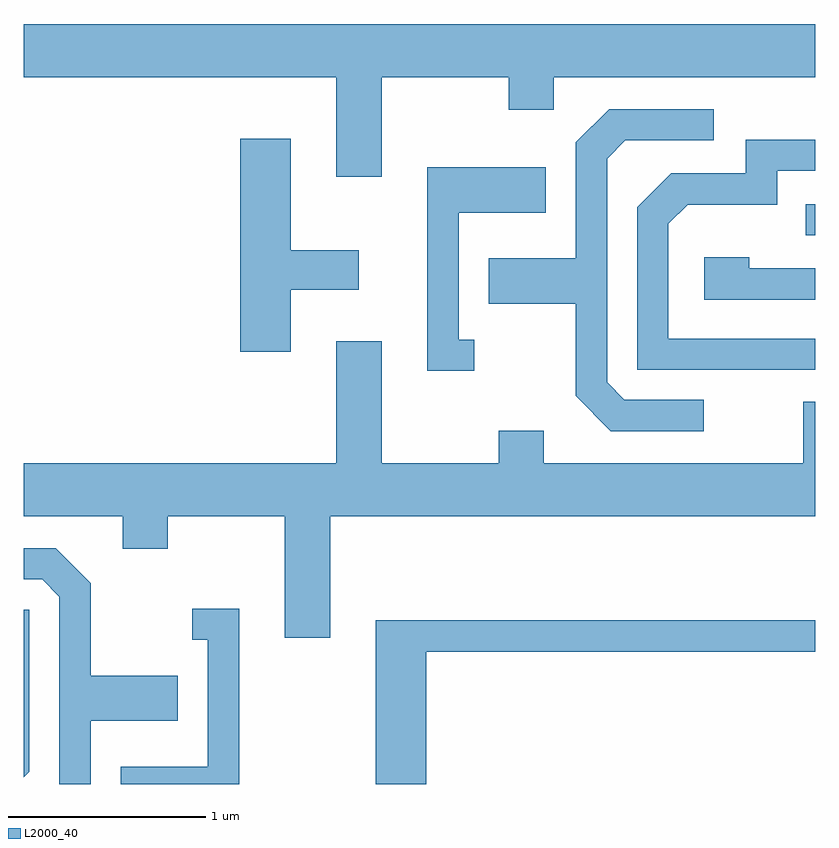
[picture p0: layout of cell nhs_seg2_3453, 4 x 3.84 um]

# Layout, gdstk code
import gdstk
lib = gdstk.Library(unit=1e-6, precision=1e-09)
def R(c, l, rs):  # rectangles x0, y0, x1, y1
    for r in rs: c.add(gdstk.rectangle(r[:2], r[2:], *l))
def P(c, l, *ps):  # polygons
    for p in ps: c.add(gdstk.Polygon(p, *l))
L2000_40 = (2000, 40)

nhs_seg2_3453 = lib.new_cell('nhs_seg2_3453')
R(nhs_seg2_3453, L2000_40, [(289.563,1098.576,289.611,1098.734)])
P(nhs_seg2_3453, L2000_40, [(287.419,1099.376),(288.061,1099.376),(288.061,1099.211),(288.289,1099.211),(288.289,1099.376),(289.611,1099.376),(289.611,1099.644),(285.611,1099.644),(285.611,1099.376),(287.191,1099.376),(287.191,1098.871),(287.419,1098.871)],
  [(289.048,1097.744),(288.647,1097.744),(288.559,1097.832),(288.559,1098.964),(288.652,1099.056),(289.098,1099.056),(289.098,1099.214),(288.569,1099.214),(288.401,1099.047),(288.401,1098.459),(287.961,1098.459),(287.961,1098.231),(288.401,1098.231),(288.401,1097.764),(288.579,1097.586),(289.048,1097.586)],
  [(286.959,1098.301),(287.304,1098.301),(287.304,1098.499),(286.959,1098.499),(286.959,1099.064),(286.706,1099.064),(286.706,1097.986),(286.959,1097.986)],
  [(289.611,1098.054),(288.869,1098.054),(288.869,1098.634),(288.967,1098.731),(289.419,1098.731),(289.419,1098.901),(289.611,1098.901),(289.611,1099.059),(289.261,1099.059),(289.261,1098.889),(288.884,1098.889),(288.711,1098.717),(288.711,1097.896),(289.611,1097.896)],
  [(287.888,1098.049),(287.809,1098.049),(287.809,1098.691),(288.249,1098.691),(288.249,1098.919),(287.651,1098.919),(287.651,1097.891),(287.888,1097.891)],
  [(289.611,1098.409),(289.279,1098.409),(289.279,1098.464),(289.051,1098.464),(289.051,1098.251),(289.611,1098.251)],
  [(287.159,1097.156),(289.611,1097.156),(289.611,1097.734),(289.551,1097.734),(289.551,1097.424),(288.239,1097.424),(288.239,1097.589),(288.011,1097.589),(288.011,1097.424),(287.419,1097.424),(287.419,1098.039),(287.191,1098.039),(287.191,1097.424),(285.611,1097.424),(285.611,1097.156),(286.111,1097.156),(286.111,1096.991),(286.339,1096.991),(286.339,1097.156),(286.931,1097.156),(286.931,1096.541),(287.159,1096.541)],
  [(285.949,1096.121),(286.389,1096.121),(286.389,1096.349),(285.949,1096.349),(285.949,1096.817),(285.772,1096.994),(285.611,1096.994),(285.611,1096.836),(285.704,1096.836),(285.791,1096.749),(285.791,1095.802),(285.949,1095.802)],
  [(286.699,1096.689),(286.463,1096.689),(286.463,1096.531),(286.541,1096.531),(286.541,1095.889),(286.101,1095.889),(286.101,1095.802),(286.699,1095.802)],
  [(285.639,1095.864),(285.639,1096.684),(285.611,1096.684),(285.611,1095.836)],
  [(287.644,1096.471),(289.611,1096.471),(289.611,1096.629),(287.391,1096.629),(287.391,1095.802),(287.644,1095.802)])

lib.write_gds('nhs_seg2_3453.gds')
